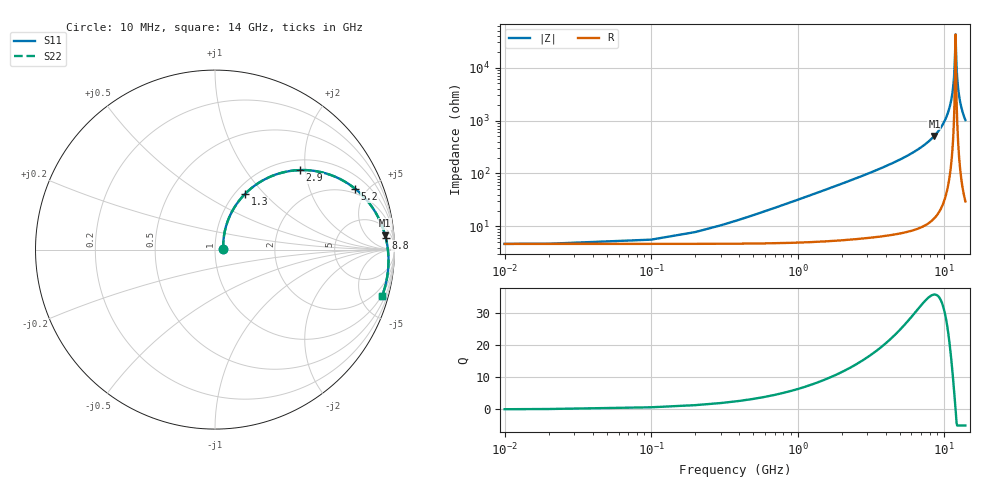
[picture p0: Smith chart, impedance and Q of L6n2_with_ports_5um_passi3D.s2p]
#  GHZ S DB R 50.0
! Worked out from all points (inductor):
!   142 points, 10 MHz to 14 GHz, reference 50 ohm
!   read as one part in series: L = 4.98 nH near 500 MHz
!   highest Q = 35.8 at 8.6 GHz (marker M1), where L = 9.49 nH
!   self-resonance near 11.9 GHz
!   S11 on the Smith chart (normalised r, x): 10 MHz: 1.09, +0.01; 1.3 GHz: 1.11, +0.78; 2.9 GHz: 1.22, +1.87; 5.2 GHz: 1.69, +4.16; 8.8 GHz: 14, +20; 14 GHz: 0.91, -7.17
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0.01  -26.97 3.3  -0.40 -0.2  -0.40 -0.2  -26.97 3.4
0.6  -15.31 65.9  -0.59 -10.8  -0.59 -10.8  -15.31 65.9
1.3  -9.09 61.7  -1.11 -22.3  -1.11 -22.3  -9.09 61.7
2.4  -4.84 48.6  -2.41 -37.9  -2.41 -37.9  -4.84 48.7
2.9  -3.77 43.1  -3.12 -43.9  -3.12 -43.9  -3.77 43.1
4.7  -1.71 27.1  -6.08 -60.9  -6.08 -60.9  -1.71 27.1
5.2  -1.40 23.5  -6.97 -64.6  -6.97 -64.6  -1.40 23.4
7.1  -0.70 12.1  -10.78 -76.3  -10.78 -76.3  -0.70 12.1
8.6  -0.43 4.8  -14.57 -83.6  -14.57 -83.6  -0.43 4.8
8.8  -0.41 3.9  -15.17 -84.5  -15.17 -84.5  -0.41 3.9
9.4  -0.35 1.4  -17.18 -87.0  -17.18 -87.0  -0.35 1.4
10.9  -0.27 -4.6  -25.10 -91.8  -25.10 -91.8  -0.27 -4.6
11.4  -0.26 -6.5  -30.49 -91.7  -30.49 -91.7  -0.26 -6.5
11.7  -0.25 -7.6  -36.53 -88.4  -36.53 -88.4  -0.25 -7.6
11.8  -0.25 -7.9  -39.98 -84.4  -39.98 -84.4  -0.25 -7.9
11.9  -0.25 -8.3  -45.45 -72.6  -45.45 -72.6  -0.25 -8.3
12  -0.25 -8.7  -52.78 -6.3  -52.78 -6.3  -0.25 -8.7
12.1  -0.25 -9.0  -45.24 56.5  -45.24 56.5  -0.25 -9.0
12.2  -0.25 -9.4  -39.92 67.7  -39.92 67.7  -0.25 -9.4
12.5  -0.26 -10.4  -32.27 74.3  -32.27 74.3  -0.26 -10.4
13.1  -0.27 -12.6  -25.59 75.0  -25.59 75.0  -0.27 -12.6
14  -0.30 -15.6  -20.58 72.9  -20.58 72.9  -0.30 -15.6
